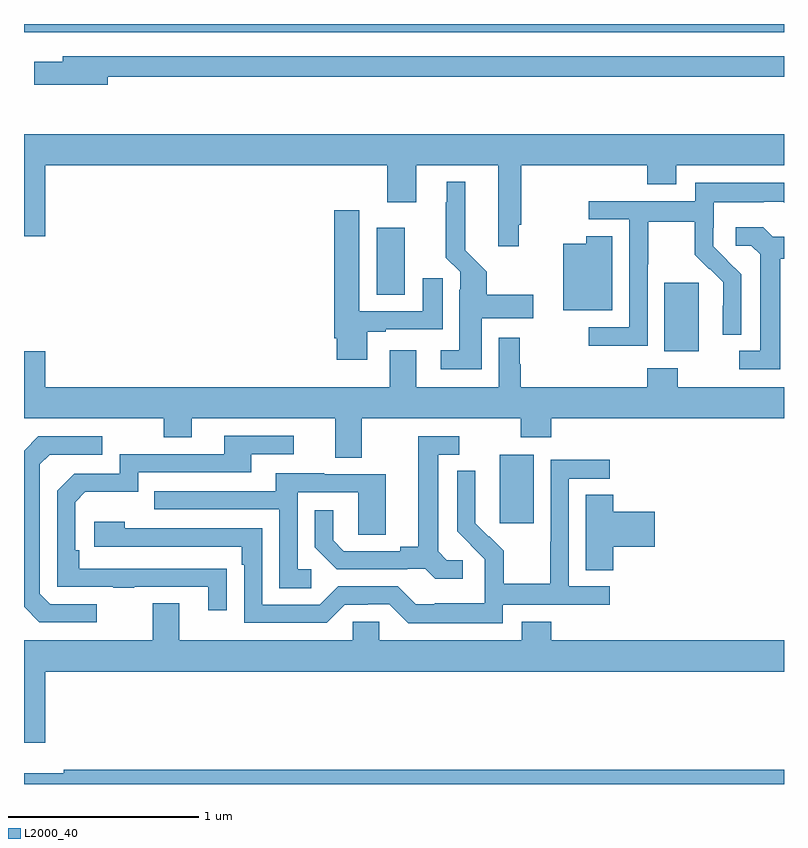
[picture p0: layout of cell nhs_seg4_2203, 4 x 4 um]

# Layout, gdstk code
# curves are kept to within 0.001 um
import gdstk
lib = gdstk.Library(unit=1e-6, precision=1e-09)
def R(c, l, rs):  # rectangles x0, y0, x1, y1
    for r in rs: c.add(gdstk.rectangle(r[:2], r[2:], *l))
def P(c, l, *ps):  # polygons
    for p in ps: c.add(gdstk.Polygon(p, *l))
L2000_40 = (2000, 40)

nhs_seg4_2203 = lib.new_cell('nhs_seg4_2203')
R(nhs_seg4_2203, L2000_40, [(227.504,792.273,227.683,792.634), (228.371,793.178,228.55,793.539), (226.856,793.474,227.005,793.828), (225,794.856,229,794.9)])
P(nhs_seg4_2203, L2000_40, [(225.442,794.622),(229,794.622),(229,794.73),(225.203,794.73),(225.203,794.701),(225.054,794.701),(225.054,794.579),(225.442,794.579)],
  [(227.605,793.843),(227.618,793.843),(227.618,794.156),(228.281,794.156),(228.281,794.057),(228.433,794.057),(228.433,794.156),(229,794.156),(229,794.32),(225,794.32),(225,793.782),(225.112,793.782),(225.112,794.156),(226.913,794.156),(226.913,793.962),(227.065,793.962),(227.065,794.156),(227.495,794.156),(227.495,793.731),(227.605,793.731)],
  [(227.41,793.352),(227.68,793.352),(227.68,793.474),(227.436,793.474),(227.436,793.595),(227.323,793.708),(227.323,794.071),(227.225,794.071),(227.225,793.961),(227.221,793.961),(227.221,793.67),(227.295,793.596),(227.295,793.502),(227.291,793.502),(227.291,793.183),(227.193,793.183),(227.193,793.082),(227.41,793.082)],
  [(228.282,793.636),(228.285,793.636),(228.285,793.86),(228.529,793.86),(228.529,793.685),(228.606,793.608),(228.609,793.611),(228.68,793.541),(228.68,793.418),(228.678,793.418),(228.678,793.264),(228.774,793.264),(228.774,793.582),(228.628,793.73),(228.628,793.827),(228.63,793.827),(228.63,793.961),(228.893,793.961),(228.893,793.965),(228.993,793.965),(229,793.958),(229,794.065),(228.534,794.065),(228.534,793.968),(227.973,793.968),(227.973,793.872),(228.186,793.872),(228.186,793.305),(227.973,793.305),(227.973,793.207),(228.282,793.207)],
  [(226.807,793.281),(226.903,793.281),(226.903,793.293),(227.203,793.293),(227.203,793.561),(227.099,793.561),(227.099,793.389),(226.765,793.389),(226.765,793.921),(226.634,793.921),(226.634,793.246),(226.646,793.246),(226.646,793.134),(226.807,793.134)],
  [(228.979,793.664),(229,793.664),(229,793.779),(228.942,793.779),(228.89,793.831),(228.747,793.831),(228.747,793.734),(228.828,793.734),(228.875,793.687),(228.875,793.179),(228.765,793.179),(228.765,793.083),(228.979,793.083)],
  [(228.097,793.783),(227.959,793.783),(227.959,793.744),(227.837,793.744),(227.837,793.394),(228.097,793.394)],
  [(226.777,792.824),(227.614,792.824),(227.614,792.725),(227.774,792.725),(227.774,792.824),(229,792.824),(229,792.988),(228.441,792.988),(228.441,793.087),(228.281,793.087),(228.281,792.988),(227.615,792.988),(227.615,793.11),(227.608,793.11),(227.608,793.249),(227.499,793.249),(227.499,792.988),(227.065,792.988),(227.065,793.183),(226.925,793.183),(226.925,792.988),(225.112,792.988),(225.112,793.177),(225,793.177),(225,792.824),(225.736,792.824),(225.736,792.725),(225.883,792.725),(225.883,792.824),(226.637,792.824),(226.637,792.616),(226.777,792.616)],
  [(226.067,792.032),(225.29,792.033),(225.29,792.13),(225.27,792.13),(225.27,792.384),(225.323,792.437),(225.6,792.437),(225.6,792.54),(226.195,792.54),(226.195,792.636),(226.42,792.636),(226.42,792.732),(226.055,792.732),(226.055,792.636),(225.504,792.636),(225.504,792.534),(225.264,792.534),(225.174,792.444),(225.174,791.937),(225.469,791.937),(225.469,791.932),(225.581,791.932),(225.581,791.937),(225.971,791.937),(225.971,791.814),(226.067,791.814)],
  [(227.308,792.078),(227.226,792.078),(227.179,792.125),(227.179,792.633),(227.29,792.633),(227.29,792.729),(227.075,792.729),(227.075,792.149),(226.979,792.149),(226.979,792.126),(226.684,792.126),(226.627,792.183),(226.627,792.34),(226.53,792.34),(226.53,792.146),(226.646,792.03),(227.018,792.03),(227.018,792.033),(227.112,792.033),(227.164,791.981),(227.308,791.981)],
  [(225.382,791.847),(225.138,791.847),(225.084,791.901),(225.084,792.582),(225.135,792.633),(225.412,792.633),(225.412,792.729),(225.075,792.729),(225,792.654),(225,791.833),(225.081,791.751),(225.382,791.751)],
  [(227.52,791.844),(228.082,791.844),(228.082,791.94),(227.868,791.94),(227.868,792.507),(228.082,792.507),(228.082,792.606),(227.772,792.606),(227.772,792.176),(227.77,792.176),(227.77,791.953),(227.525,791.953),(227.525,792.127),(227.448,792.204),(227.445,792.201),(227.375,792.272),(227.376,792.548),(227.28,792.548),(227.28,792.23),(227.426,792.082),(227.426,791.985),(227.424,791.985),(227.424,791.851),(227.161,791.851),(227.161,791.847),(227.061,791.847),(226.968,791.94),(226.653,791.94),(226.557,791.844),(226.254,791.844),(226.254,792.246),(225.53,792.246),(225.53,792.28),(225.369,792.28),(225.369,792.15),(226.145,792.15),(226.145,792.053),(226.158,792.053),(226.158,791.748),(226.593,791.748),(226.689,791.844),(226.808,791.844),(226.808,791.847),(226.923,791.847),(227.023,791.747),(227.52,791.747)],
  [(226.513,792.03),(226.44,792.03),(226.44,792.435),(226.758,792.435),(226.758,792.211),(226.903,792.211),(226.903,792.531),(226.579,792.531),(226.579,792.535),(226.325,792.535),(226.325,792.441),(225.685,792.441),(225.685,792.345),(226.344,792.345),(226.344,791.929),(226.513,791.929)],
  [(228.101,792.149),(228.319,792.149),(228.319,792.332),(228.101,792.332),(228.101,792.422),(227.957,792.422),(227.957,792.025),(228.101,792.025)],
  [(225.112,791.492),(229,791.492),(229,791.656),(227.774,791.656),(227.774,791.755),(227.621,791.755),(227.621,791.656),(226.869,791.656),(226.869,791.754),(226.731,791.754),(226.731,791.656),(225.817,791.656),(225.817,791.851),(225.677,791.851),(225.677,791.656),(225,791.656),(225,791.118),(225.112,791.118)],
  [(229,790.976),(225.208,790.976),(225.208,790.957),(225,790.957),(225,790.9),(229,790.9)])

lib.write_gds('nhs_seg4_2203.gds')
